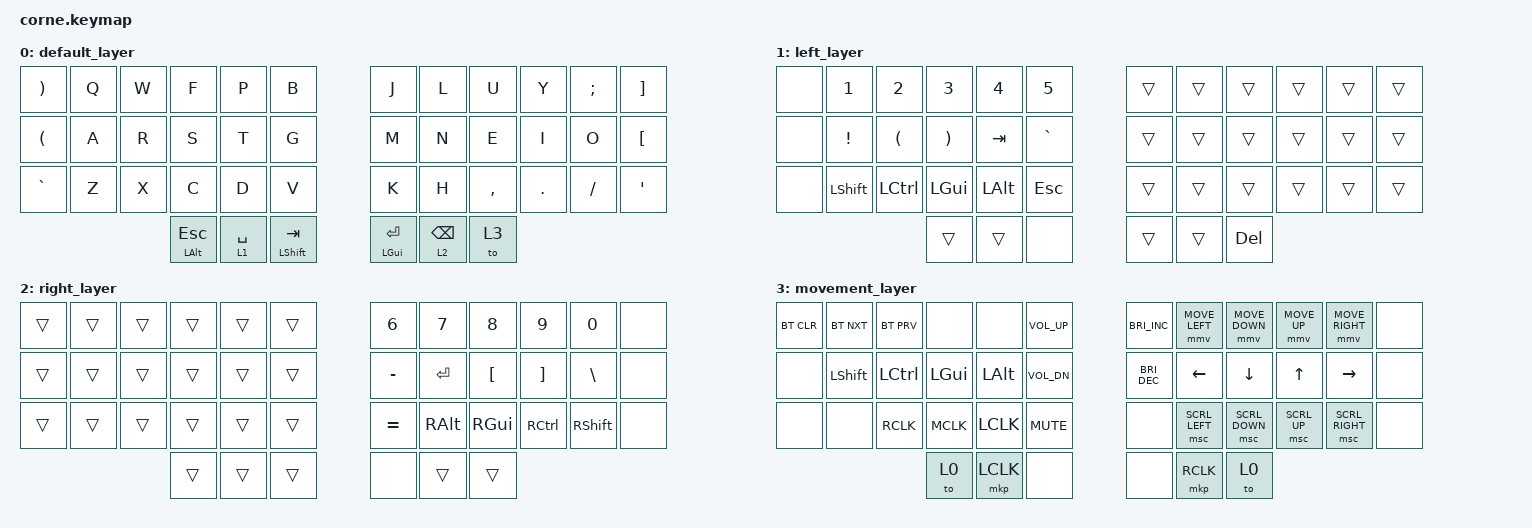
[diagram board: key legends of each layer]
/*
 * Copyright (c) 2020 The ZMK Contributors
 *
 * SPDX-License-Identifier: MIT
 */
#define ZMK_POINTING_DEFAULT_MOVE_VAL 1000  // default: 600
#define ZMK_POINTING_DEFAULT_SCRL_VAL 20    // default: 10

#include <behaviors.dtsi>
#include <dt-bindings/zmk/keys.h>
#include <dt-bindings/zmk/bt.h>
#include <dt-bindings/zmk/pointing.h>

/ {
        keymap {
                compatible = "zmk,keymap";

                default_layer {
// -----------------------------------------------------------------------------------------
// |  TAB |  Q  |  W  |  E  |  R  |  T  |   |  Y  |  U   |  I  |  O  |  P  | BSPC |
// | CTRL |  A  |  S  |  D  |  F  |  G  |   |  H  |  J   |  K  |  L  |  ;  |  '   |
// | SHFT |  Z  |  X  |  C  |  V  |  B  |   |  N  |  M   |  ,  |  .  |  /  | ESC  |
//                    | GUI | LWR | SPC |   | ENT | RSE  | ALT |
                        bindings = <
   &kp RPAR   &kp Q &kp W &kp F &kp P &kp B   &kp J &kp L  &kp U     &kp Y   &kp SEMI    &kp RBKT
   &kp LPAR &kp A &kp R &kp S &kp T &kp G   &kp M &kp N  &kp E     &kp I   &kp O &kp LBKT
   &kp GRAVE &kp Z &kp X &kp C &kp D &kp V   &kp K &kp H  &kp COMMA &kp DOT &kp FSLH &kp SQT
                  &mt LALT ESC  &lt 1 SPACE &mt LSHIFT TAB     &mt LGUI RET &lt 2 BSPC &to 3
                        >;
                };
                left_layer {
// -----------------------------------------------------------------------------------------
// |  TAB |  1  |  2  |  3  |  4  |  5  |   |  6  |  7  |  8  |  9  |  0  | BSPC |
// | BTCLR| BT1 | BT2 | BT3 | BT4 | BT5 |   | LFT | DWN |  UP | RGT |     |      |
// | SHFT |     |     |     |     |     |   |     |     |     |     |     |      |
//                    | GUI |     | SPC |   | ENT |     | ALT |
                        bindings = <
   &none    &kp N1       &kp N2       &kp N3       &kp N4       &kp N5         &trans &trans &trans &trans &trans &trans
   &none    &kp EXCL    &kp LPAR     &kp RPAR      &kp TAB      &kp GRAVE      &trans &trans &trans &trans &trans &trans
   &none    &kp LSHFT   &kp LCTRL    &kp LGUI     &kp LALT      &kp ESC        &trans &trans &trans &trans &trans &trans
                                    &trans &trans &none        &trans  &trans &kp DEL
                        >;
                };

                right_layer {
// -----------------------------------------------------------------------------------------
// |  TAB |  !  |  @  |  #  |  $  |  %  |   |  ^  |  &  |  *  |  (  |  )  | BSPC |
// | CTRL |     |     |     |     |     |   |  -  |  =  |  [  |  ]  |  \  |  `   |
// | SHFT |     |     |     |     |     |   |  _  |  +  |  {  |  }  | "|" |  ~   |
//                    | GUI |     | SPC |   | ENT |     | ALT |
                        bindings = <
   &trans &trans &trans &trans &trans &trans           &kp N6   &kp N7   &kp N8 &kp N9    &kp N0 &none
   &trans &trans   &trans &trans   &trans   &trans     &kp MINUS &kp RET &kp LBKT &kp RBKT &kp BSLH &none
   &trans &trans   &trans &trans   &trans   &trans     &kp EQUAL &kp RALT &kp RGUI &kp RCTRL &kp RSHFT &none
                             &trans &trans &trans   &none   &trans  &trans
                        >;
                };

                movement_layer {
                  bindings = <
 &bt BT_CLR &bt BT_NXT  &bt BT_PRV &none &none  &kp C_VOL_UP            &kp C_BRI_INC &mmv MOVE_LEFT &mmv MOVE_DOWN &mmv MOVE_UP &mmv MOVE_RIGHT &none
  &none   &kp LSHFT &kp LCTRL &kp LGUI &kp LALT &kp C_VOL_DN   &kp C_BRI_DEC &kp LEFT_ARROW      &kp DOWN_ARROW      &kp UP_ARROW      &kp RIGHT_ARROW      &none
  &none   &none   &kp RCLK &kp MCLK &kp LCLK   &kp C_MUTE        &none         &msc SCRL_LEFT &msc SCRL_DOWN &msc SCRL_UP &msc SCRL_RIGHT &none
                            &to 0 &mkp LCLK &none                     &none &mkp RCLK &to 0
                        >;
                };
        };
};
